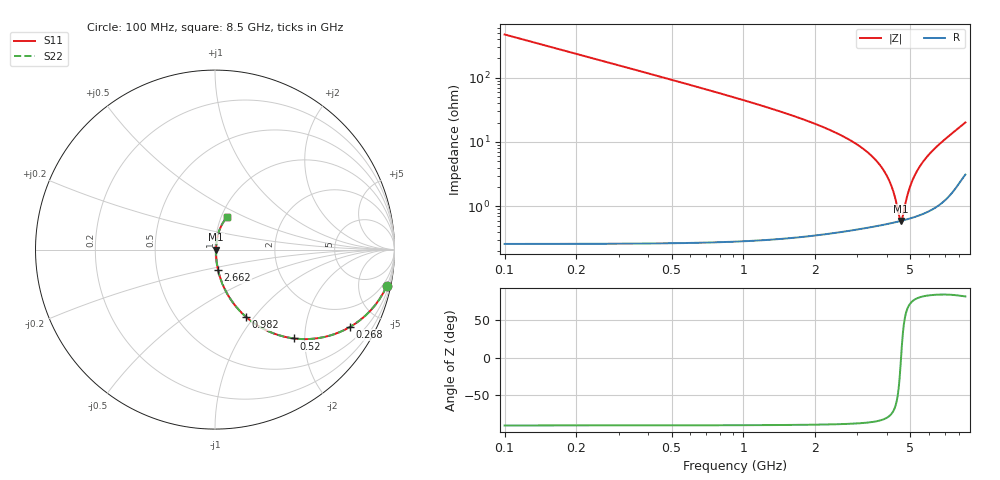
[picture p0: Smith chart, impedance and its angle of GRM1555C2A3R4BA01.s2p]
!Murata Part Number: GRM1555C2A3R4BA01
!These Parameters are Measured in Series Mode Connection
!Data Generated on Mar 30, 2021
!  o--ll--o
!Port1  Port2
!  o------o
!Operation Temp=25[degC], DC Bias Voltage=0[V]
!Freq. Start=100[MHz] Stop=9[GHz] 401[Steps]
# Hz S RI R 50
!Freq.(Hz) S11(Real) S11(Imag) S21(Real) S21(Imag) S12(Real) S12(Imag) S22(Real) S22(Imag)
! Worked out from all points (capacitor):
!   401 points, 100 MHz to 8.5 GHz, reference 50 ohm
!   read as one part in series: C = 3.4 pF near 142 MHz
!   lowest |Z| = 594 mohm at 4.573 GHz (marker M1)
!   series resonance near 4.571 GHz, so ESL is about 360 pH
!   S11 on the Smith chart (normalised r, x): 100 MHz: 1.01, -9.36; 268 MHz: 1.01, -3.48; 520 MHz: 1.01, -1.78; 982 MHz: 1.01, -0.91; 2.662 GHz: 1.01, -0.24; 8.5 GHz: 1.06, +0.40
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1e8  0.9562 -0.2043  0.0438 0.2043  0.0438 0.2043  0.9562 -0.2043
2.68e8  0.7516 -0.4314  0.2484 0.4314  0.2484 0.4314  0.7516 -0.4314
3.73e8  0.6083 -0.4871  0.3917 0.4871  0.3917 0.4871  0.6083 -0.4871
5.2e8  0.4416 -0.4951  0.5584 0.4951  0.5584 0.4951  0.4416 -0.4951
7.3e8  0.282 -0.4478  0.718 0.4478  0.718 0.4478  0.282 -0.4478
9.82e8  0.1733 -0.3754  0.8267 0.3754  0.8267 0.3754  0.1733 -0.3754
1.507e9  0.0743 -0.2566  0.9257 0.2566  0.9257 0.2566  0.0743 -0.2566
2.662e9  0.0176 -0.1155  0.9824 0.1155  0.9824 0.1155  0.0176 -0.1155
2.914e9  0.0135 -0.0955  0.9865 0.0955  0.9865 0.0955  0.0135 -0.0955
3.796e9  0.00663 -0.0393  0.9934 0.0393  0.9934 0.0393  0.00663 -0.0393
4.09e9  0.00593 -0.0236  0.9941 0.0236  0.9941 0.0236  0.00593 -0.0236
4.3e9  0.00577 -0.013  0.9942 0.013  0.9942 0.013  0.00577 -0.013
4.51e9  0.00584 -0.00289  0.9942 0.00289  0.9942 0.00289  0.00584 -0.00289
4.573e9  0.00591 8.46e-05  0.9941 -8.46e-05  0.9941 -8.46e-05  0.00591 8.46e-05
4.636e9  0.00599 0.00303  0.994 -0.00303  0.994 -0.00303  0.00599 0.00303
4.867e9  0.00646 0.0136  0.9935 -0.0136  0.9935 -0.0136  0.00646 0.0136
5.056e9  0.00703 0.0221  0.993 -0.0221  0.993 -0.0221  0.00703 0.0221
5.329e9  0.00813 0.034  0.9919 -0.034  0.9919 -0.034  0.00813 0.034
5.707e9  0.0102 0.0503  0.9898 -0.0503  0.9898 -0.0503  0.0102 0.0503
6.295e9  0.015 0.0754  0.985 -0.0754  0.985 -0.0754  0.015 0.0754
7.114e9  0.0259 0.1116  0.9741 -0.1116  0.9741 -0.1116  0.0259 0.1116
8.5e9  0.0648 0.18  0.9352 -0.18  0.9352 -0.18  0.0648 0.18
